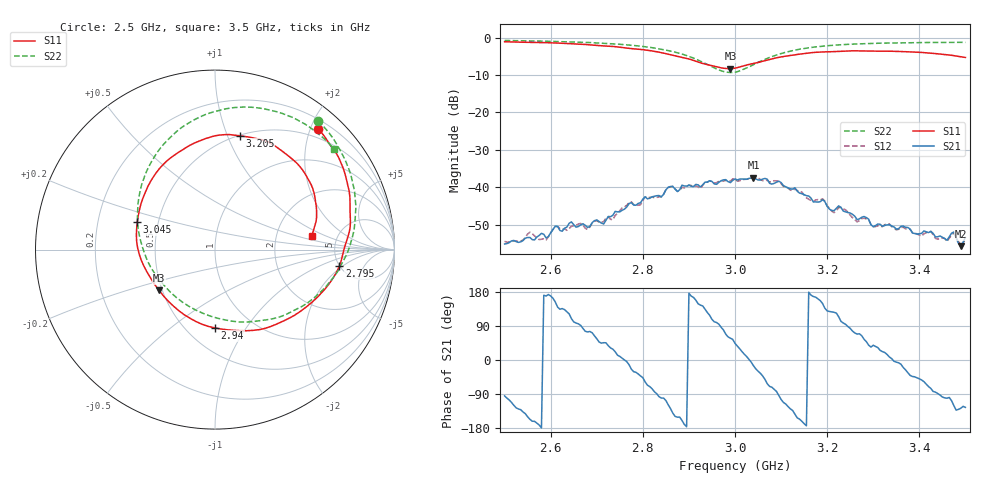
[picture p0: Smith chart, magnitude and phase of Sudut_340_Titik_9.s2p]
# Hz S RI R 50
! CMT, C1220, 16058040, 17.2.0/1
! Date: 15/08/2018 09:51:02
! Data: Format (Calibration Info)
! Freq  S11: Re/Im (F2)  S21: Re/Im (F2)  S12: Re/Im (F2)  S22: Re/Im (F2)
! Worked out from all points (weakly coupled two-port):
!   201 points, 2.5 GHz to 3.5 GHz, reference 50 ohm
!   highest |S21| = -37.40 dB at 3.04 GHz (marker M1); lowest = -55.8 dB at 3.49 GHz (marker M2)
!   lowest |S11| = -8.3 dB at 2.99 GHz (marker M3), VSWR 2.26, Z = 24 - j12.8 ohm
!   |S11| at or under -10 dB: nowhere
!   |S22| runs from -9.3 to -0.7 dB; largest |S21 - S12| = 0.0011
!   S11 on the Smith chart (normalised r, x): 2.5 GHz: 0.35, +2.13; 2.795 GHz: 4.98, -1.79; 2.94 GHz: 0.68, -0.73; 3.045 GHz: 0.38, +0.15; 3.205 GHz: 0.51, +1.11; 3.5 GHz: 3.22, +0.71
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2.5e9  0.5755 0.6715  -0.000141 -0.00173  -0.000135 -0.00189  0.5753 0.7181
2.555e9  0.6405 0.5842  -0.00195 -0.000846  -0.00226 -0.00107  0.6363 0.6491
2.59e9  0.6858 0.519  -0.00206 0.000407  -0.00195 0.000254  0.6726 0.5965
2.61e9  0.7032 0.4802  -0.00269 0.00136  -0.00267 0.00128  0.6928 0.5622
2.67e9  0.7466 0.33  0.000375 0.00322  0.00061 0.00306  0.7473 0.4447
2.715e9  0.7534 0.1943  0.00225 0.0023  0.00242 0.00248  0.7757 0.3342
2.77e9  0.7208 0.0094  0.00589 -0.00129  0.00605 -0.00141  0.7814 0.1667
2.795e9  0.6931 -0.092  0.0046 -0.00416  0.0043 -0.00394  0.7677 0.0781
2.835e9  0.5953 -0.2392  -0.000894 -0.0077  -0.000623 -0.00744  0.7065 -0.0786
2.94e9  0.000366 -0.4362  -0.00678 0.00954  -0.007 0.00939  0.174 -0.4039
2.99e9  -0.3121 -0.227  0.00618 0.00973  0.0063 0.0103  -0.2152 -0.2668
3e9  -0.3577 -0.1605  0.00933 0.00897  0.00982 0.00845  -0.2792 -0.2042
3.04e9  -0.4364 0.1171  0.013 -0.00347  0.0134 -0.003  -0.4256 0.0984
3.045e9  -0.4332 0.1518  0.0119 -0.00509  0.0127 -0.00522  -0.4311 0.1393
3.105e9  -0.2715 0.491  -0.00391 -0.00976  -0.00406 -0.00943  -0.3253 0.5369
3.17e9  0.00483 0.635  -0.00621 0.00138  -0.00638 0.000891  -0.0712 0.7449
3.205e9  0.1373 0.6341  -0.00314 0.00402  -0.00289 0.00435  0.0599 0.7843
3.335e9  0.475 0.4601  0.00312 0.000439  0.00321 0.000266  0.4173 0.7421
3.46e9  0.5658 0.179  -0.000368 -0.00192  -0.00035 -0.00185  0.6184 0.6079
3.475e9  0.5585 0.1403  -0.00128 -0.00217  -0.00116 -0.00216  0.6367 0.5894
3.49e9  0.5473 0.1021  -0.000987 -0.00129  -0.00109 -0.00127  0.6537 0.5706
3.5e9  0.539 0.0779  -0.00122 -0.00175  -0.00124 -0.00155  0.665 0.5579
